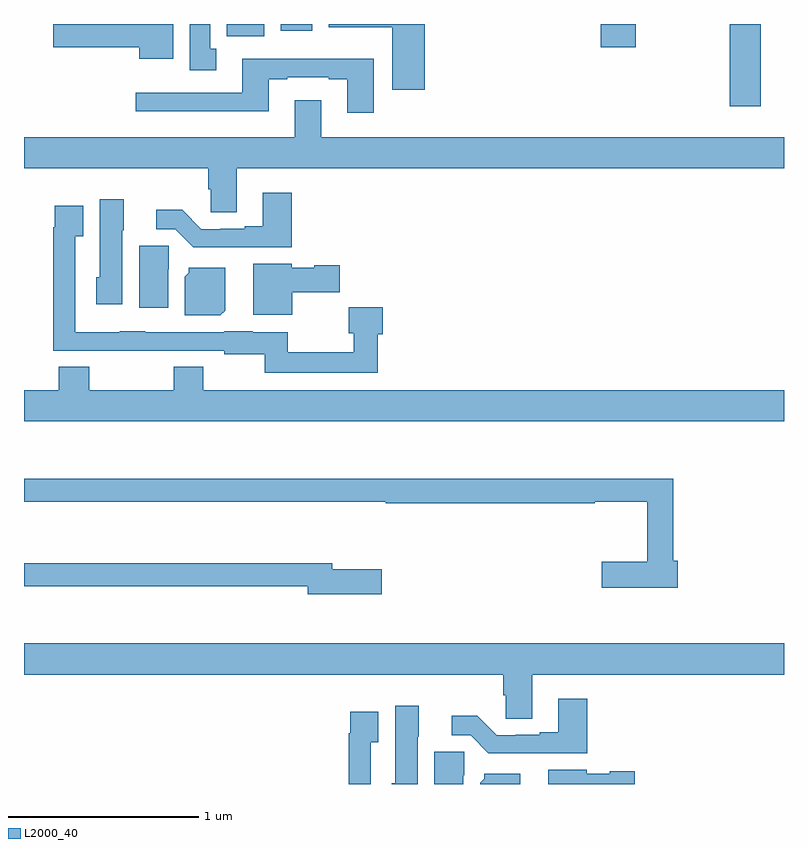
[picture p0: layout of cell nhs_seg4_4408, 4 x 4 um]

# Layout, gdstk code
import gdstk
lib = gdstk.Library(unit=1e-6, precision=1e-09)
def R(c, l, rs):  # rectangles x0, y0, x1, y1
    for r in rs: c.add(gdstk.rectangle(r[:2], r[2:], *l))
def P(c, l, *ps):  # polygons
    for p in ps: c.add(gdstk.Polygon(p, *l))
L2000_40 = (2000, 40)

nhs_seg4_4408 = lib.new_cell('nhs_seg4_4408')
R(nhs_seg4_4408, L2000_40, [(350.714,810.468,350.878,810.9), (350.036,810.777,350.219,810.9), (348.068,810.836,348.265,810.9), (348.35,810.864,348.517,810.9)])
P(nhs_seg4_4408, L2000_40, [(349.109,810.9),(348.605,810.9),(348.605,810.884),(348.938,810.884),(348.938,810.555),(349.109,810.555)],
  [(347.785,810.9),(347.154,810.9),(347.154,810.778),(347.606,810.778),(347.606,810.716),(347.785,810.716)],
  [(348.013,810.77),(347.98,810.77),(347.98,810.9),(347.873,810.9),(347.873,810.657),(348.013,810.657)],
  [(348.841,810.718),(348.149,810.718),(348.149,810.537),(347.589,810.537),(347.589,810.44),(348.289,810.44),(348.289,810.609),(348.385,810.609),(348.385,810.621),(348.605,810.621),(348.605,810.609),(348.701,810.609),(348.701,810.432),(348.841,810.432)],
  [(348.121,810.14),(351,810.14),(351,810.304),(348.565,810.304),(348.565,810.499),(348.425,810.499),(348.425,810.304),(347,810.304),(347,810.14),(347.969,810.14),(347.969,810.03),(347.982,810.03),(347.982,809.908),(348.121,809.908)],
  [(348.41,810.013),(348.257,810.013),(348.257,809.836),(348.161,809.836),(348.161,809.823),(348.034,809.823),(348.034,809.82),(347.934,809.82),(347.832,809.923),(347.697,809.923),(347.697,809.82),(347.796,809.82),(347.89,809.726),(348.41,809.726)],
  [(347.518,809.814),(347.524,809.814),(347.524,809.977),(347.399,809.977),(347.399,809.568),(347.381,809.568),(347.381,809.424),(347.518,809.424)],
  [(348.863,809.266),(348.887,809.266),(348.887,809.408),(348.709,809.408),(348.709,809.273),(348.735,809.273),(348.735,809.173),(348.388,809.173),(348.388,809.278),(348.204,809.278),(348.204,809.284),(348.054,809.284),(348.054,809.277),(347.637,809.277),(347.637,809.284),(347.505,809.284),(347.505,809.278),(347.271,809.278),(347.271,809.783),(347.311,809.783),(347.311,809.944),(347.163,809.944),(347.163,809.831),(347.155,809.831),(347.155,809.181),(347.405,809.181),(347.405,809.18),(347.637,809.18),(347.637,809.181),(348.054,809.181),(348.054,809.162),(348.267,809.162),(348.267,809.064),(348.863,809.064)],
  [(347.758,809.61),(347.762,809.61),(347.762,809.733),(347.606,809.733),(347.606,809.406),(347.758,809.406)],
  [(348.412,809.488),(348.661,809.488),(348.661,809.63),(348.528,809.63),(348.528,809.617),(348.408,809.617),(348.408,809.638),(348.206,809.638),(348.206,809.369),(348.412,809.369)],
  [(348.058,809.392),(348.058,809.617),(347.868,809.617),(347.868,809.592),(347.846,809.57),(347.846,809.366),(348.032,809.366)],
  [(351,808.972),(347.943,808.972),(347.943,809.096),(347.788,809.096),(347.788,808.972),(347.343,808.972),(347.343,809.096),(347.183,809.096),(347.183,808.972),(347,808.972),(347,808.808),(351,808.808)],
  [(350.441,808.076),(350.417,808.076),(350.417,808.507),(347,808.507),(347,808.386),(348.904,808.386),(348.904,808.378),(350.004,808.378),(350.004,808.386),(350.281,808.386),(350.281,808.071),(350.04,808.071),(350.04,807.934),(350.441,807.934)],
  [(348.883,808.029),(348.622,808.029),(348.622,808.063),(347,808.063),(347,807.942),(348.494,807.942),(348.494,807.899),(348.883,807.899)],
  [(349.675,807.476),(351,807.476),(351,807.64),(347,807.64),(347,807.476),(349.523,807.476),(349.523,807.366),(349.536,807.366),(349.536,807.244),(349.675,807.244)],
  [(349.964,807.349),(349.811,807.349),(349.811,807.172),(349.715,807.172),(349.715,807.159),(349.588,807.159),(349.588,807.156),(349.488,807.156),(349.386,807.259),(349.251,807.259),(349.251,807.156),(349.35,807.156),(349.444,807.062),(349.964,807.062)],
  [(349.072,807.15),(349.078,807.15),(349.078,807.313),(348.953,807.313),(348.953,806.904),(348.935,806.904),(348.935,806.9),(349.072,806.9)],
  [(348.825,807.119),(348.865,807.119),(348.865,807.28),(348.717,807.28),(348.717,807.167),(348.709,807.167),(348.709,806.9),(348.825,806.9)],
  [(349.312,806.946),(349.316,806.946),(349.316,807.069),(349.16,807.069),(349.16,806.9),(349.312,806.9)],
  [(350.215,806.966),(350.082,806.966),(350.082,806.953),(349.962,806.953),(349.962,806.974),(349.76,806.974),(349.76,806.9),(350.215,806.9)],
  [(349.612,806.953),(349.422,806.953),(349.422,806.928),(349.4,806.906),(349.4,806.9),(349.612,806.9)])

lib.write_gds('nhs_seg4_4408.gds')
